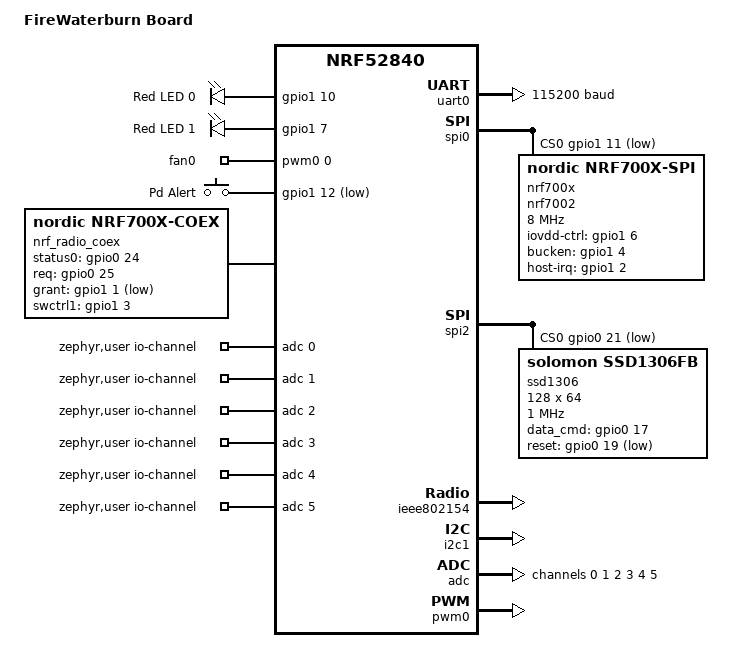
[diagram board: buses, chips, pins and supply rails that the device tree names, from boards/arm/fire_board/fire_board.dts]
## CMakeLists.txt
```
# SPDX-License-Identifier: Apache-2.0

cmake_minimum_required(VERSION 3.20.0)

set(NO_BUILD_TYPE_WARNING TRUE)
list(APPEND BOARD_ROOT ${CMAKE_CURRENT_SOURCE_DIR})
find_package(Zephyr REQUIRED HINTS $ENV{ZEPHYR_BASE})

include(${ZEPHYR_BASE}/cmake/cfb.cmake NO_POLICY_SCOPE)

project(firewaterburn)

add_subdirectory(src/peripheral)

target_include_directories(app PUBLIC ${ZEPHYR_BASE}/subsys/net/ip)

target_sources(app PRIVATE src/main.c)


set(gen_dir ${ZEPHYR_BINARY_DIR}/include/generated/)
generate_cfb_font_for_target(app fonts/fsex302.ttf ${gen_dir}/cfb_font_fsex302.h 8 16 -s 16 --first 32 --last 180 -n a)
generate_cfb_font_for_target(app fonts/sig_strength.png ${gen_dir}/cfb_font_sig_strength.h 17 16 --first 49 --last 54 -n b)
generate_cfb_font_for_target(app fonts/channel.png ${gen_dir}/cfb_font_channel.h 20 16 --first 48 --last 53 -n c)
```

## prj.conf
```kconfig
# Logging
CONFIG_LOG=y
CONFIG_PRINTK=y
# If below config is enabled, printk logs are
# buffered. For unbuffered messages, disable this.
CONFIG_LOG_PRINTK=n

# Enable cbf
CONFIG_CHARACTER_FRAMEBUFFER=y
CONFIG_CHARACTER_FRAMEBUFFER_USE_DEFAULT_FONTS=n

# Wifi Config
CONFIG_WIFI=y
CONFIG_WIFI_NRF700X=y
CONFIG_NET_L2_WIFI_MGMT=y
CONFIG_HEAP_MEM_POOL_SIZE=42000

# System settings
CONFIG_FPU=y
CONFIG_NEWLIB_LIBC=y
CONFIG_NEWLIB_LIBC_FLOAT_PRINTF=y

# Networking
CONFIG_NETWORKING=y
CONFIG_NET_L2_ETHERNET=y
CONFIG_NET_NATIVE=n
CONFIG_NET_OFFLOAD=y

CONFIG_INIT_STACKS=y

# Memories
CONFIG_MAIN_STACK_SIZE=2048

# Debugging
CONFIG_STACK_SENTINEL=n
CONFIG_DEBUG_COREDUMP=y
CONFIG_DEBUG_COREDUMP_BACKEND_LOGGING=y
CONFIG_DEBUG_COREDUMP_MEMORY_DUMP_MIN=y

# If below config is enabled, printk logs are
# buffered. For unbuffered messages, disable this.
CONFIG_LOG_PRINTK=n

# printing of scan results puts pressure on queues in new locking
# design in net_mgmt. So, use a higher timeout for a crowded
# environment.
CONFIG_NET_MGMT_EVENT_QUEUE_TIMEOUT=5000

# Raw scan Options
CONFIG_WIFI_MGMT_RAW_SCAN_RESULTS=n
CONFIG_WIFI_MGMT_RAW_SCAN_RESULTS_ONLY=n
```

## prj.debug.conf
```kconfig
# debug configuration
CONFIG_DEBUG=y
CONFIG_LOG_DEFAULT_LEVEL=4
```

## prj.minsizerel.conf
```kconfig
# nothing here
```

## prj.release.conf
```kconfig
# nothing here
CONFIG_SPEED_OPTIMIZATIONS=y
```

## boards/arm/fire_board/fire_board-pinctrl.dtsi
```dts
/*
 * Copyright (c) 2022 Nordic Semiconductor
 * SPDX-License-Identifier: Apache-2.0
 */

&pinctrl {

	i2c1_default: i2c1_default {
		group1 {
			psels = <NRF_PSEL(TWIM_SDA, 1, 22)>,
				    <NRF_PSEL(TWIM_SCL, 1, 20)>;
		};
	};

	i2c1_sleep: i2c1_sleep {
		group1 {
			psels = <NRF_PSEL(TWIM_SDA, 1, 22)>,
				    <NRF_PSEL(TWIM_SCL, 1, 20)>;
			low-power-enable;
		};
	};

    pwm0_default: pwm0_default {
        group1 {
            psels = <NRF_PSEL(PWM_OUT0, 0, 7)>;
        };
    };

    pwm0_sleep: pwm0_sleep {
        group1 {
            psels = <NRF_PSEL(PWM_OUT0, 0, 7)>;
            low-power-enable;
        };
    };
	
	spi0_default: spi0_default {
		group1 {
			psels = <NRF_PSEL(SPIM_SCK, 0, 3)>,
					<NRF_PSEL(SPIM_MOSI, 1, 14)>,
					<NRF_PSEL(SPIM_MISO, 1, 15)>;
		};
	};

	spi0_sleep: spi0_sleep {
		group1 {
			psels = <NRF_PSEL(SPIM_SCK, 0, 3)>,
					<NRF_PSEL(SPIM_MOSI, 1, 14)>,
					<NRF_PSEL(SPIM_MISO, 1, 15)>;
			low-power-enable;
		};
	};
	
	spi2_default: spi2_default {
		group1 {
			psels = <NRF_PSEL(SPIM_SCK, 0, 15)>,
					<NRF_PSEL(SPIM_MOSI, 0, 13)>;
		};
	};

	spi2_sleep: spi2_sleep {
		group1 {
			psels = <NRF_PSEL(SPIM_SCK, 0, 15)>,
					<NRF_PSEL(SPIM_MOSI, 0, 13)>;
			low-power-enable;
		};
	};
	
	uart0_default: uart0_default {
		group1 {
			psels = <NRF_PSEL(UART_TX, 0, 27)>;
		};
		group2 {
			psels = <NRF_PSEL(UART_RX, 0, 26)>;
		};
	};

	uart0_sleep: uart0_sleep {
		group1 {
			psels = <NRF_PSEL(UART_TX, 0, 27)>,
					<NRF_PSEL(UART_RX, 0, 26)>;
			low-power-enable;
		};
	};
};
```

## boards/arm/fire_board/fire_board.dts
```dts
// Copyright (c) 2023 Nordic Semiconductor ASA
// SPDX-License-Identifier: Apache-2.0

/dts-v1/;
#include <nordic/nrf52840_qiaa.dtsi>
#include <freq.h>
#include "fire_board-pinctrl.dtsi"
/ {
	model = "FireWaterburn Board";
	compatible = "fire-gmbh,fire-board";

	chosen {
		zephyr,console = &uart0;
		zephyr,shell-uart = &uart0;
		zephyr,uart-mcumgr = &uart0;
		zephyr,sram = &sram0;
		zephyr,flash = &flash0;
		zephyr,code-partition = &slot0_partition;
		zephyr,ieee802154 = &ieee802154;
		zephyr,display = &ssd1306;
		zephyr,wifi = &nordic_wlan0;
	};

	leds {
		compatible = "gpio-leds";
		led0: led_0 {
			gpios = <&gpio1 10 GPIO_ACTIVE_HIGH>;
			label = "Red LED 0";
		};
		led1: led_1 {
			gpios = <&gpio1 7 GPIO_ACTIVE_HIGH>;
			label = "Red LED 1";
		};
	};

    fans {
        compatible = "pwm-leds";
        fan0: pwm_0 {
			pwms = <&pwm0 0 PWM_HZ(600) PWM_POLARITY_NORMAL>;
		};
    };

	buttons {
		compatible = "gpio-keys";
		button0: button_0 {
			gpios = <&gpio1 12 GPIO_ACTIVE_LOW>;
			label = "Pd Alert";
		};
	};

	nrf_radio_coex: nrf7002-coex {
		status = "okay";
		compatible = "nordic,nrf700x-coex";
		status0-gpios = <&gpio0 24 GPIO_ACTIVE_HIGH>;
		req-gpios = <&gpio0 25 GPIO_ACTIVE_HIGH>;
		grant-gpios = <&gpio1 1 (GPIO_PULL_DOWN | GPIO_ACTIVE_LOW)>;
		swctrl1-gpios = <&gpio1 3 GPIO_ACTIVE_HIGH>;
	};

	nordic_wlan0: nordic_wlan0 {
		compatible = "nordic,wlan0";
		status = "okay";
	};

	aliases {
		led0 = &led0;
		led1 = &led1;
		pdalert = &button0;
        fan = &fan0;
	};

	nrf70_tx_power_ceiling: nrf70_tx_power_ceiling_node {
		status = "okay";
		compatible = "nordic,nrf700x-tx-power-ceiling";
		max-pwr-2g-dsss = <0x54>;
		max-pwr-2g-mcs0 = <0x40>;
		max-pwr-2g-mcs7 = <0x40>;
		max-pwr-5g-low-mcs0 = <0x34>;
		max-pwr-5g-low-mcs7 = <0x34>;
		max-pwr-5g-mid-mcs0 = <0x34>;
		max-pwr-5g-mid-mcs7 = <0x34>;
		max-pwr-5g-high-mcs0 = <0x30>;
		max-pwr-5g-high-mcs7 = <0x30>;
	};

	zephyr,user {
        io-channels = <&adc 0>, <&adc 1>, <&adc 2>, <&adc 3>, <&adc 4>, <&adc 5>;
    };
};

&uart0 {
	compatible = "nordic,nrf-uarte";
	status = "okay";
	current-speed = <115200>;
	pinctrl-0 = <&uart0_default>;
	pinctrl-1 = <&uart0_sleep>;
	pinctrl-names = "default", "sleep";
};

&gpiote {
	status = "okay";
};

&gpio0 {
	status = "okay";
};

&gpio1 {
	status = "okay";
};

&spi0 {
	status = "okay";
	cs-gpios = <&gpio1 11 GPIO_ACTIVE_LOW>; /* D10 */
	pinctrl-0 = <&spi0_default>;
	pinctrl-1 = <&spi0_sleep>;
	pinctrl-names = "default", "sleep";
	nrf700x: nrf7002@0 {
		compatible = "nordic,nrf700x-spi";
		status = "okay";
		reg = <0>;
		spi-max-frequency = <DT_FREQ_M(8)>;

		iovdd-ctrl-gpios = <&gpio1 6 (GPIO_ACTIVE_HIGH | GPIO_PULL_DOWN)>;
		bucken-gpios = <&gpio1 4 (GPIO_ACTIVE_HIGH | GPIO_PULL_DOWN)>;
		host-irq-gpios = <&gpio1 2 GPIO_ACTIVE_HIGH>;
	};
};

&spi2 {
    status = "okay";
    compatible = "nordic,nrf-spim";
    pinctrl-0 = <&spi2_default>;
	pinctrl-1 = <&spi2_sleep>;
    pinctrl-names = "default", "sleep";

    cs-gpios = <&gpio0 21 (GPIO_ACTIVE_LOW)>;

    ssd1306: ssd1306@0 {
		compatible = "solomon,ssd1306fb";
		reg = <0>;
		spi-max-frequency = <DT_FREQ_M(1)>;
        width = <128>;
        height = <64>;
        segment-offset = <0>;
        page-offset = <0>;
        display-offset = <0>;
        multiplex-ratio = <63>;
        segment-remap;
        com-invdir;
        prechargep = <0x22>;
		data_cmd-gpios = <&gpio0 17 (GPIO_ACTIVE_HIGH)>;
		reset-gpios = <&gpio0 19 (GPIO_ACTIVE_LOW)>;
	};
};

&ieee802154 {
	status = "okay";
};


&i2c1 {
	compatible = "nordic,nrf-twim";
	status = "okay";
	pinctrl-0 = <&i2c1_default>;
	pinctrl-1 = <&i2c1_sleep>;
	pinctrl-names = "default", "sleep";
};

&adc {
	status = "okay";

    #address-cells = <1>;
    #size-cells = <0>;

    channel@0 {
        reg = <0>;
        zephyr,gain = "ADC_GAIN_1_4";
        zephyr,reference = "ADC_REF_VDD_1_4";
        zephyr,acquisition-time = <ADC_ACQ_TIME_DEFAULT>;
        zephyr,input-positive = <NRF_SAADC_AIN3>;
        zephyr,resolution = <12>;
    };

    channel@1 {
        reg = <1>;
        zephyr,gain = "ADC_GAIN_1_4";
        zephyr,reference = "ADC_REF_VDD_1_4";
        zephyr,acquisition-time = <ADC_ACQ_TIME_DEFAULT>;
        zephyr,input-positive = <NRF_SAADC_AIN7>;
        zephyr,resolution = <12>;
    };

    channel@2 {
        reg = <2>;
        zephyr,gain = "ADC_GAIN_1_4";
        zephyr,reference = "ADC_REF_VDD_1_4";
        zephyr,acquisition-time = <ADC_ACQ_TIME_DEFAULT>;
        zephyr,input-positive = <NRF_SAADC_AIN4>;
        zephyr,resolution = <12>;
    };

    channel@3 {
        reg = <3>;
        zephyr,gain = "ADC_GAIN_1_4";
        zephyr,reference = "ADC_REF_VDD_1_4";
        zephyr,acquisition-time = <ADC_ACQ_TIME_DEFAULT>;
        zephyr,input-positive = <NRF_SAADC_AIN5>;
        zephyr,resolution = <12>;
    };

	channel@4 {
        reg = <4>;
        zephyr,gain = "ADC_GAIN_1_4";
        zephyr,reference = "ADC_REF_VDD_1_4";
        zephyr,acquisition-time = <ADC_ACQ_TIME_DEFAULT>;
        zephyr,input-positive = <NRF_SAADC_AIN0>;
        zephyr,resolution = <12>;
    };

	channel@5 {
        reg = <5>;
        zephyr,gain = "ADC_GAIN_1_4";
        zephyr,reference = "ADC_REF_VDD_1_4";
        zephyr,acquisition-time = <ADC_ACQ_TIME_DEFAULT>;
        zephyr,input-positive = <NRF_SAADC_AIN6>;
        zephyr,resolution = <12>;
    };
};

&pwm0 {
    status = "okay";
    pinctrl-0 = <&pwm0_default>;
    pinctrl-1 = <&pwm0_sleep>;
    pinctrl-names = "default", "sleep";
};

&flash0 {
	partitions {
		compatible = "fixed-partitions";
		#address-cells = <1>;
		#size-cells = <1>;

		boot_partition: partition@0 {
			label = "mcuboot";
			reg = <0x0 0xc000>;
		};
		slot0_partition: partition@c000 {
			label = "image-0";
			reg = <0xc000 0x72000>;
		};
		slot1_partition: partition@7e000 {
			label = "image-1";
			reg = <0x7e000 0x72000>;
		};
		scratch_partition: partition@f0000 {
			label = "image-scratch";
			reg = <0xf0000 0xa000>;
		};
		storage_partition: partition@fa000 {
			label = "storage";
			reg = <0xfa000 0x6000>;
		};
	};
};

&spi2_default {
    group1 {
        nordic,invert;
    };
};
```

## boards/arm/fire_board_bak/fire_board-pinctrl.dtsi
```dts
/*
 * Copyright (c) 2022 Nordic Semiconductor
 * SPDX-License-Identifier: Apache-2.0
 */

&pinctrl {

	i2c0_default: i2c0_default {
		group1 {
			psels = <NRF_PSEL(TWIM_SDA, 1, 22)>,
				    <NRF_PSEL(TWIM_SCL, 1, 20)>;
		};
	};

	i2c0_sleep: i2c0_sleep {
		group1 {
			psels = <NRF_PSEL(TWIM_SDA, 1, 22)>,
				    <NRF_PSEL(TWIM_SCL, 1, 20)>;
			low-power-enable;
		};
	};

    pwm0_default: pwm0_default {
        group1 {
            psels = <NRF_PSEL(PWM_OUT0, 0, 7)>;
        };
    };

    pwm0_sleep: pwm0_sleep {
        group1 {
            psels = <NRF_PSEL(PWM_OUT0, 0, 7)>;
            low-power-enable;
        };
    };
	
	spi0_default: spi0_default {
		group1 {
			psels = <NRF_PSEL(SPIM_SCK, 0, 3)>,
					<NRF_PSEL(SPIM_MOSI, 1, 14)>,
					<NRF_PSEL(SPIM_MISO, 1, 15)>;
		};
	};

	spi0_sleep: spi0_sleep {
		group1 {
			psels = <NRF_PSEL(SPIM_SCK, 0, 3)>,
					<NRF_PSEL(SPIM_MOSI, 1, 14)>,
					<NRF_PSEL(SPIM_MISO, 1, 15)>;
			low-power-enable;
		};
	};
	
	spi2_default: spi2_default {
		group1 {
			psels = <NRF_PSEL(SPIM_SCK, 0, 15)>,
					<NRF_PSEL(SPIM_MOSI, 0, 13)>,
					<NRF_PSEL(SPIS_CSN, 0, 21)>;
		};
	};

	spi2_sleep: spi2_sleep {
		group1 {
			psels = <NRF_PSEL(SPIM_SCK, 0, 15)>,
					<NRF_PSEL(SPIM_MOSI, 0, 13)>,
					<NRF_PSEL(SPIS_CSN, 0, 21)>;
			low-power-enable;
		};
	};
	
	uart0_default: uart0_default {
		group1 {
			psels = <NRF_PSEL(UART_TX, 0, 27)>;
		};
		group2 {
			psels = <NRF_PSEL(UART_RX, 0, 26)>;
		};
	};

	uart0_sleep: uart0_sleep {
		group1 {
			psels = <NRF_PSEL(UART_TX, 0, 27)>,
					<NRF_PSEL(UART_RX, 0, 26)>;
			low-power-enable;
		};
	};
};
```

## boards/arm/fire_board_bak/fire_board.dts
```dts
// Copyright (c) 2023 Nordic Semiconductor ASA
// SPDX-License-Identifier: Apache-2.0

/dts-v1/;
#include <nordic/nrf52840_qiaa.dtsi>
#include <freq.h>
#include "fire_board-pinctrl.dtsi"
/ {
	model = "FireWaterburn Board";
	compatible = "fire-gmbh,fire-board";

	chosen {
		zephyr,console = &uart0;
		zephyr,shell-uart = &uart0;
		zephyr,uart-mcumgr = &uart0;
		zephyr,bt-mon-uart = &uart0;
		zephyr,bt-c2h-uart = &uart0;
		zephyr,sram = &sram0;
		zephyr,flash = &flash0;
		zephyr,code-partition = &slot0_partition;
		zephyr,ieee802154 = &ieee802154;
	};
	
	/*leds {
		compatible = "gpio-leds";
		led0: led_0 {
			gpios = <&gpio1 7 GPIO_ACTIVE_HIGH>;
			label = "Red LED 0";
		};
		led1: led_1 {
			gpios = <&gpio1 6 GPIO_ACTIVE_HIGH>;
			label = "Red LED 1";
		};
		led2: led_2 {
			gpios = <&gpio1 5 GPIO_ACTIVE_HIGH>;
			label = "Red LED 2";
		};
	};

    fans {
        compatible = "pwm-leds";
        fan0: pwm_0 {
			pwms = <&pwm0 0 PWM_HZ(600) PWM_POLARITY_NORMAL>;
		};
    };
	
	buttons {
		compatible = "gpio-keys";
		button0: button_0 {
			gpios = <&gpio1 12 GPIO_ACTIVE_LOW>;
			label = "Pd Alert";
		};
	};
	
	zephyr,user {
        io-channels = <&adc 0>, <&adc 1>, <&adc 2>, <&adc 3>;
    };

	
	aliases {
		led0 = &led0;
		led1 = &led1;
		led2 = &led2;
		pdalert = &button0;
        fan = &fan0;
	};
	*/
	
	nrf_radio_coex: nrf7002-coex {
		status = "okay";
		compatible = "nordic,nrf700x-coex";
		status0-gpios = <&gpio0 24 GPIO_ACTIVE_HIGH>;  
		req-gpios = <&gpio0 25 GPIO_ACTIVE_HIGH>;
		grant-gpios = <&gpio1 1 (GPIO_PULL_DOWN | GPIO_ACTIVE_LOW)>;
		swctrl1-gpios = <&gpio1 3 GPIO_ACTIVE_HIGH>;
	};
};

&uart0 {
	compatible = "nordic,nrf-uarte";
	status = "okay";
	current-speed = <115200>;
	pinctrl-0 = <&uart0_default>;
	pinctrl-1 = <&uart0_sleep>;
	pinctrl-names = "default", "sleep";
};

&gpiote {
	status = "okay";
};

&gpio0 {
	status = "okay";
};

&gpio1 {
	status = "okay";
};

&spi0 {
	status = "okay";
	cs-gpios = <&gpio1 11 GPIO_ACTIVE_LOW>; /* D10 */
	pinctrl-0 = <&spi0_default>;
	pinctrl-1 = <&spi0_sleep>;
	pinctrl-names = "default", "sleep";
	nrf700x: nrf7002@0 {
		compatible = "nordic,nrf700x-spi";
		status = "okay";
		reg = <0>;
		spi-max-frequency = <DT_FREQ_M(8)>;
		
		iovdd-ctrl-gpios = <&gpio1 6 (GPIO_ACTIVE_HIGH | GPIO_PULL_DOWN)>;
		bucken-gpios = <&gpio1 4 (GPIO_ACTIVE_HIGH | GPIO_PULL_DOWN)>;
		host-irq-gpios = <&gpio1 2 GPIO_ACTIVE_HIGH>;
	};
};

&spi1 {
    status = "okay";
    pinctrl-0 = <&spi2_default>;
	pinctrl-1 = <&spi2_sleep>;
    pinctrl-names = "default", "sleep";

    ssd1306: ssd1306@0 {
		compatible = "solomon,ssd1306fb";
		reg = <0>;
		spi-max-frequency = <DT_FREQ_M(8)>;
		width = <128>;
		height = <64>;
		segment-offset = <0>;
		page-offset = <0>;
		display-offset = <0>;
		multiplex-ratio = <63>;
		segment-remap;
		/*com-invdir;*/
		prechargep = <0x22>;
		data_cmd-gpios = <&gpio0 17 GPIO_ACTIVE_LOW>;
		reset-gpios = <&gpio0 19 GPIO_ACTIVE_LOW>;
	};
};

&ieee802154 {
	status = "okay";
};


/*&i2c0 {
	compatible = "nordic,nrf-twim";
	status = "okay";
	pinctrl-0 = <&i2c0_default>;
	pinctrl-1 = <&i2c0_sleep>;
	pinctrl-names = "default", "sleep";
};

&adc {
	status = "okay";

    #address-cells = <1>;
    #size-cells = <0>;

    channel@0 {
        reg = <0>;
        zephyr,gain = "ADC_GAIN_1_4";
        zephyr,reference = "ADC_REF_VDD_1_4";
        zephyr,acquisition-time = <ADC_ACQ_TIME_DEFAULT>;
        zephyr,input-positive = <NRF_SAADC_AIN0>;
        zephyr,resolution = <12>;
    };

    channel@1 {
        reg = <1>;
        zephyr,gain = "ADC_GAIN_1_4";
        zephyr,reference = "ADC_REF_VDD_1_4";
        zephyr,acquisition-time = <ADC_ACQ_TIME_DEFAULT>;
        zephyr,input-positive = <NRF_SAADC_AIN5>;
        zephyr,resolution = <12>;
    };

    channel@2 {
        reg = <2>;
        zephyr,gain = "ADC_GAIN_1_4";
        zephyr,reference = "ADC_REF_VDD_1_4";
        zephyr,acquisition-time = <ADC_ACQ_TIME_DEFAULT>;
        zephyr,input-positive = <NRF_SAADC_AIN1>;
        zephyr,resolution = <12>;
    };

    channel@3 {
        reg = <3>;
        zephyr,gain = "ADC_GAIN_1_5";
        zephyr,reference = "ADC_REF_INTERNAL";
        zephyr,acquisition-time = <ADC_ACQ_TIME_DEFAULT>;
        zephyr,input-positive = <NRF_SAADC_AIN6>;
        zephyr,resolution = <12>;
    };
};

&pwm0 {
    status = "okay";
    pinctrl-0 = <&pwm0_default>;
    pinctrl-1 = <&pwm0_sleep>;
    pinctrl-names = "default", "sleep";
};

zephyr_udc0: &usbd {
	compatible = "nordic,nrf-usbd";
	status = "okay";
};
*/
&flash0 {
	partitions {
		compatible = "fixed-partitions";
		#address-cells = <1>;
		#size-cells = <1>;

		boot_partition: partition@0 {
			label = "mcuboot";
			reg = <0x0 0xc000>;
		};
		slot0_partition: partition@c000 {
			label = "image-0";
			reg = <0xc000 0x72000>;
		};
		slot1_partition: partition@7e000 {
			label = "image-1";
			reg = <0x7e000 0x72000>;
		};
		scratch_partition: partition@f0000 {
			label = "image-scratch";
			reg = <0xf0000 0xa000>;
		};
		storage_partition: partition@fa000 {
			label = "storage";
			reg = <0xfa000 0x6000>;
		};
	};
};
```

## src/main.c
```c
//#include <zephyr/sys/printk.h>
//#include <zephyr/kernel.h>
//#include <zephyr/drivers/pwm.h>
//
//#include "peripheral/pd_controller.h"
//#include "peripheral/adc_controller.h"
//
///* 1000 msec = 1 sec */
//#define SLEEP_TIME_MS   1000
//
//
////static const struct pwm_dt_spec pwr_fan = PWM_DT_SPEC_GET(DT_ALIAS(fan));
//
//void main(void)
//{
//    printk("Hello World! %s\n", CONFIG_BOARD);
//
//    pd_controller_init();
//    adc_controller_init();
//
//    pd_controller_read_pdo_snk();
//    pd_controller_pdo_set(1, 5.0f, 1.5f);
//    pd_controller_pdo_set(2, 9.0f, 1.5f);
//    pd_controller_pdo_set(3, 12.0f, 1.5f);
//    pd_controller_write_pdo_snk();
//
//    pd_controller_set_pdo_number(3);
//    pd_controller_soft_reset();
//
////    if (!device_is_ready(pwr_fan.dev)) {
////        printk("Error: PWM device %s is not ready\n",
////               pwr_fan.dev->name);
////        return;
////    }
////
////    int ret = pwm_set_dt(&pwr_fan, pwr_fan.period, pwr_fan.period / 2U);
////    if (ret) {
////        printk("Error %d: failed to set pulse width\n", ret);
////        return;
////    }    if (!device_is_ready(pwr_fan.dev)) {
////        printk("Error: PWM device %s is not ready\n",
////               pwr_fan.dev->name);
////        return;
////    }
//
//    while (1)
//    {
//        adc_controller_read();
//        k_msleep(SLEEP_TIME_MS);
//    }
//}


/*
 * Copyright (c) 2022 Nordic Semiconductor ASA
 *
 * SPDX-License-Identifier: LicenseRef-Nordic-5-Clause
 */

/** @file
 * @brief WiFi scan sample
 */
#include <stdio.h>
#include <zephyr/kernel.h>
#include <zephyr/device.h>

#include "display.h"
#include "adc_probe.h"

void display_init_data(struct thermo_display *display);


int main(void)
{
    struct thermo_display display;
    struct adc_probe probes[ADC_PROBE_COUNT];
    double temperature[ADC_PROBE_COUNT] = { 2.0 , 3.0, 5.0, 6.0, 7.0, 123.0};

    display_init_data(&display);
    thermo_display_init(&display);

    adc_probe_init(probes);

    while (1)
    {
        adc_probe_read_all(probes);
        adc_probe_get_value(probes, temperature);
        thermo_display_update(&display, temperature);

        k_msleep(1000);
    }
}



void display_init_data(struct thermo_display *display)
{
    display->layout.rows = 2;
    display->layout.columns = 3;
    display->layout.channels = 6;
    display->layout.spacing = 10;
    display->layout.header_height = 12;

    display->time.tm_hour = 13;
    display->time.tm_min = 37;

    display->dev = DEVICE_DT_GET(DT_CHOSEN(zephyr_display));
    display->signal_strength = WIFI_SIGNAL_STRENGTH_DISCONNECTED;
    display->time.tm_hour = 13;
}
```
